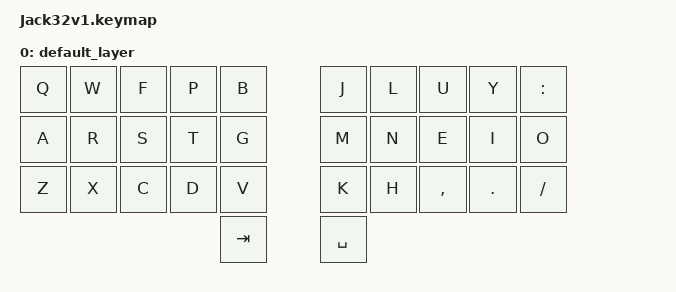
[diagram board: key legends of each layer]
#include <behaviors.dtsi>
#include <dt-bindings/zmk/keys.h>

/ {
    keymap {
        compatible = "zmk,keymap";

        default_layer {
// --------------------------------------------------------------------------------------------------------------
// |    Q    |    W    |    F    |    P    |    B    |        |    J    |    L    |    U    |    Y    |    ;    |
// |    A    |    R    |    S    |    T    |    G    |        |    M    |    N    |    E    |    I    |    O    |
// |    Z    |    X    |    C    |    D    |    V    |        |    K    |    H    |    ,    |    .    |    /    |
//                                         |   TAB   |        |  SPACE  |

        bindings = <
    &kp Q     &kp W     &kp F     &kp P     &kp B             &kp J     &kp L     &kp U     &kp Y     &kp COLON
    &kp A     &kp R     &kp S     &kp T     &kp G             &kp M     &kp N     &kp E     &kp I     &kp O
    &kp Z     &kp X     &kp C     &kp D     &kp V             &kp K     &kp H     &kp COMMA &kp DOT   &kp SLASH
                                            &kp TAB           &kp SPACE
        >;
        };
    };
};
